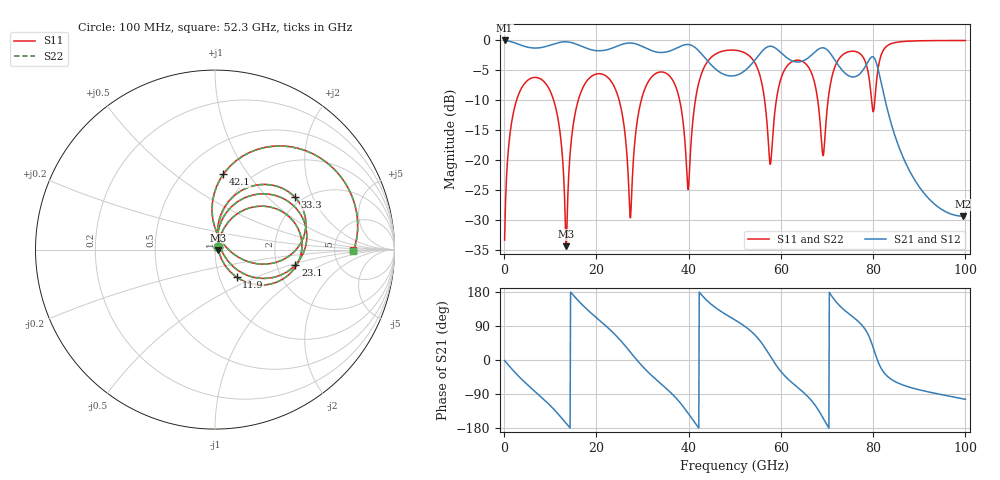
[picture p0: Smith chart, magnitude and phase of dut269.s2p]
! Touchstone file exported from HFSS 2026.1.0
!  File:  C:/ffzhzh/LocalFiles/Ansys_Project_Files/temp_train_TSV_RDL_269_1783674853_33328.aedt
!  Generated:  05:22:29 PM Jul 10, 2026
!  Design:  TSV_RDL
!  Project:  temp_train_TSV_RDL_269_1783674853_33328
! Variables:
!  h_bsmrdl = 3.31um
!  h_ox = 20um
!  h_rdl = 5um
!  h_sub = 97um
!  h_tmrdl = 4.41um
!  h_tsv = 97um
!  h_via = 3um
!  l_bsmrdl = 535.72um
!  l_sub = 3815.41um
!  l_tmrdl = 420.03um
!  m_sub = 200um
!  pitch = 56.42um
!  r_tsv = 14.71um
!  s_tmrdl = 10um
!  w_bsmrdl = 27.8um
!  w_sub = 500um
!  w_tmrdl = 14.91um
!  x_tsv_center1 = 427.485um
!  x_tsv_center2 = 991.005um
!  x_tsv_center3 = 1425.945um
!  x_tsv_center4 = 1989.465um
!  x_tsv_center5 = 2424.405um
!  x_tsv_center6 = 2987.925um
# GHz S MA R 50.000000
! Terminal data exported
! Port[1] = TM_RDL1_1_T1
! Port[2] = TM_RDL5_1_T1
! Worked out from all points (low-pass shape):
!   1000 points, 100 MHz to 100 GHz, reference 50 ohm
!   highest |S21| = -0.14 dB at 100 MHz (marker M1); lowest = -29.3 dB at 99.5 GHz (marker M2)
!   |S21| within 3 dB of the highest: start of sweep to 43.66 GHz; 54.63 GHz to 61.52 GHz (6.896 GHz wide, 11.9 % of centre) (the widest 2 of 4)
!   lowest |S11| = -34.3 dB at 13.4 GHz (marker M3), VSWR 1.04, Z = 52 - j0.233 ohm
!   |S11| at or under -10 dB: 10.71 GHz to 16.09 GHz (5.385 GHz wide, 40.2 % of centre); 24.91 GHz to 29.75 GHz (4.839 GHz wide, 17.7 % of centre); 38.03 GHz to 41.47 GHz (3.446 GHz wide, 8.67 % of centre) (the widest 3 of 7)
!   |S22| runs from -33.9 to -0.2 dB; largest |S21 - S12| = 7.8e-14
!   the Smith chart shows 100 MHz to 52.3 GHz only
!   S11 on the Smith chart (normalised r, x): 100 MHz: 1.03, +0.03; 11.9 GHz: 1.21, -0.38; 23.1 GHz: 2.54, -0.55; 33.3 GHz: 1.82, +1.49; 42.1 GHz: 0.76, +0.77; 52.3 GHz: 7.75, -0.15
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0.1  0.02164 40.1  0.9837 -1.5  0.9837 -1.5  0.02164 40.1
! Gamma 0 0 0 0
! Port Impedance 50 0 50 0
3.9  0.4036 34.8  0.8921 -52.1  0.8921 -52.1  0.4036 34.9
11.9  0.1949 -51.9  0.9458 -145.1  0.9458 -145.1  0.1949 -51.7
13.4  0.01927 -6.7  0.9591 -166.4  0.9591 -166.4  0.02009 -5.5
16.8  0.3782 54.1  0.8793 147.4  0.8793 147.4  0.3784 54.0
23.1  0.4557 -10.9  0.8413 78.2  0.8413 78.2  0.4559 -10.8
27.4  0.03311 29.4  0.937 20.3  0.937 20.3  0.03402 28.9
33.3  0.5323 33.4  0.7857 -55.4  0.7857 -55.4  0.5322 33.2
33.4  0.5339 32.4  0.7847 -56.4  0.7847 -56.4  0.5338 32.3
39.9  0.05685 38.9  0.9105 -141.0  0.9105 -141.0  0.05749 39.0
42.1  0.4225 83.7  0.8132 -177.8  0.8132 -177.8  0.4228 83.5
50.1  0.816 15.4  0.5029 105.3  0.5029 105.3  0.8161 15.1
52.3  0.7716 -0.3  0.5572 87.8  0.5572 87.8  0.7715 -0.6
58.2  0.1528 54.1  0.8744 0.3  0.8744 0.3  0.148 56.6
61  0.5781 41.0  0.721 -43.8  0.721 -43.8  0.5774 41.6
66.7  0.5207 -11.7  0.7469 -108.0  0.7469 -108.0  0.521 -11.4
70.1  0.2836 73.6  0.8178 -173.5  0.8178 -173.5  0.284 73.3
78.5  0.6226 -1.6  0.6163 76.5  0.6163 76.5  0.6221 -1.5
80.5  0.3608 56.8  0.6727 14.4  0.6727 14.4  0.3619 56.9
83.4  0.9063 33.4  0.2363 -46.3  0.2363 -46.3  0.9067 33.5
99.5  0.9823 -13.1  0.03417 -102.5  0.03417 -102.5  0.9824 -13.1
100  0.9821 -14.2  0.03422 -103.8  0.03422 -103.8  0.9822 -14.1
